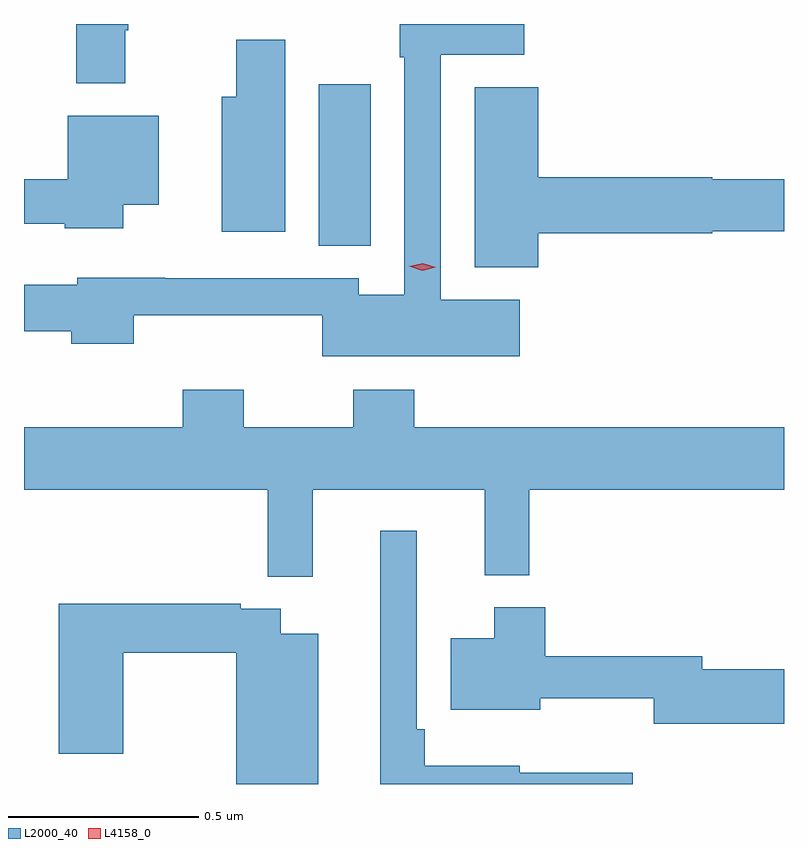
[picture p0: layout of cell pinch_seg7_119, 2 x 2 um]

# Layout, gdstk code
import gdstk
lib = gdstk.Library(unit=1e-6, precision=1e-09)
def R(c, l, rs):  # rectangles x0, y0, x1, y1
    for r in rs: c.add(gdstk.rectangle(r[:2], r[2:], *l))
def P(c, l, *ps):  # polygons
    for p in ps: c.add(gdstk.Polygon(p, *l))
L2000_40 = (2000, 40)
L4158_0 = (4158, 0)

pinch_seg7_119 = lib.new_cell('pinch_seg7_119')
R(pinch_seg7_119, L2000_40, [(888.848,1035.889,888.985,1036.315)])
P(pinch_seg7_119, L2000_40, [(888.34,1036.457),(888.347,1036.457),(888.347,1036.473),(888.211,1036.473),(888.211,1036.317),(888.34,1036.317)],
  [(889.378,1035.748),(889.17,1035.748),(889.17,1036.392),(889.39,1036.392),(889.39,1036.473),(889.062,1036.473),(889.062,1036.385),(889.074,1036.385),(889.074,1035.76),(888.954,1035.76),(888.954,1035.804),(888.445,1035.804),(888.445,1035.805),(888.213,1035.805),(888.213,1035.787),(888.073,1035.787),(888.073,1035.665),(888.197,1035.665),(888.197,1035.632),(888.362,1035.632),(888.362,1035.707),(888.858,1035.707),(888.858,1035.599),(889.378,1035.599)],
  [(888.76,1036.432),(888.631,1036.432),(888.631,1036.282),(888.593,1036.282),(888.593,1035.926),(888.76,1035.926)],
  [(889.426,1035.923),(889.884,1035.923),(889.884,1035.928),(890.073,1035.928),(890.073,1036.064),(889.884,1036.064),(889.884,1036.07),(889.426,1036.07),(889.426,1036.307),(889.259,1036.307),(889.259,1035.833),(889.426,1035.833)],
  [(888.334,1035.998),(888.427,1035.998),(888.427,1036.231),(888.188,1036.231),(888.188,1036.064),(888.073,1036.064),(888.073,1035.947),(888.18,1035.947),(888.18,1035.935),(888.334,1035.935)],
  [(888.491,1035.511),(888.491,1035.412),(888.073,1035.412),(888.073,1035.248),(888.715,1035.248),(888.715,1035.019),(888.833,1035.019),(888.833,1035.248),(889.286,1035.248),(889.286,1035.023),(889.403,1035.023),(889.403,1035.248),(890.073,1035.248),(890.073,1035.412),(889.1,1035.412),(889.1,1035.511),(888.94,1035.511),(888.94,1035.412),(888.651,1035.412),(888.651,1035.511)],
  [(889.675,1034.503),(889.377,1034.503),(889.377,1034.521),(889.127,1034.521),(889.127,1034.617),(889.107,1034.617),(889.107,1035.139),(889.01,1035.139),(889.01,1034.473),(889.675,1034.473)],
  [(888.847,1034.869),(888.748,1034.869),(888.748,1034.934),(888.644,1034.934),(888.644,1034.947),(888.164,1034.947),(888.164,1034.553),(888.334,1034.553),(888.334,1034.818),(888.632,1034.818),(888.632,1034.473),(888.847,1034.473)],
  [(890.073,1034.775),(889.858,1034.775),(889.858,1034.809),(889.445,1034.809),(889.445,1034.938),(889.31,1034.938),(889.31,1034.857),(889.196,1034.857),(889.196,1034.669),(889.432,1034.669),(889.432,1034.699),(889.73,1034.699),(889.73,1034.632),(890.073,1034.632)])
P(pinch_seg7_119, L4158_0, [(889.121,1035.824),(889.087,1035.836),(889.087,1035.836),(889.087,1035.836),(889.122,1035.844),(889.156,1035.833),(889.156,1035.833),(889.156,1035.833)])

lib.write_gds('pinch_seg7_119.gds')
